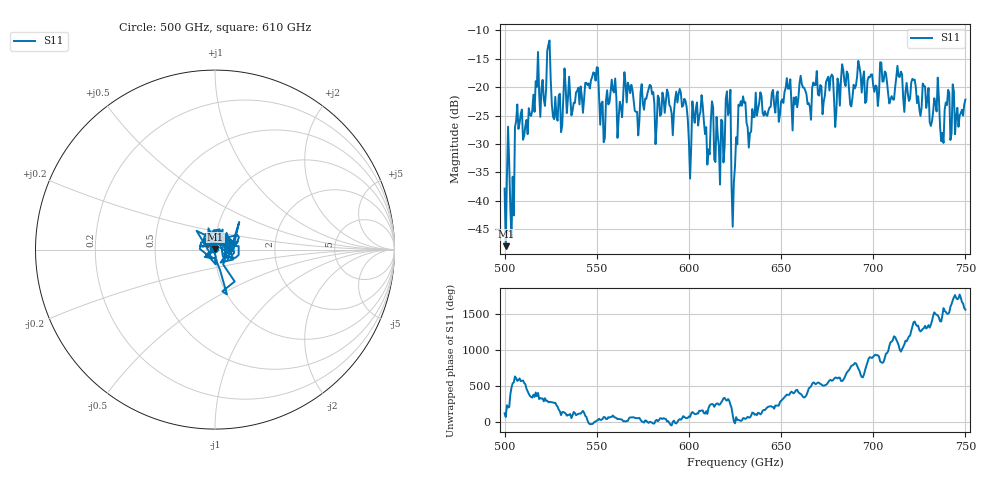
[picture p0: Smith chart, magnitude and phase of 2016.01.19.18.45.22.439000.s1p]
!Created with skrf (http://scikit-rf.org).
# GHz S RI R 50.0
!freq ReS11 ImS11
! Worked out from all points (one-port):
!   401 points, 500 GHz to 750 GHz, reference 50 ohm
!   lowest |S11| = -48.0 dB at 500.6 GHz (marker M1), VSWR 1.01, Z = 50.1 + j0.387 ohm
!   |S11| at or under -10 dB: start of sweep to end of sweep
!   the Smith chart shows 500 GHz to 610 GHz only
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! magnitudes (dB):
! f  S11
! 500 GHz  -37.9
! 500.6 GHz  -48.0
! 503.8 GHz  -46.5
! 506.9 GHz  -23.0
! 520.6 GHz  -18.7
! 523.8 GHz  -12.5
! 526.9 GHz  -25.6
! 531.2 GHz  -26.8
! 549.4 GHz  -18.8
! 553.1 GHz  -22.5
! 558.8 GHz  -20.5
! 562.5 GHz  -22.6
! 566.2 GHz  -22.7
! 571.9 GHz  -24.3
! 593.8 GHz  -22.7
! 600 GHz  -29.6
! 606.9 GHz  -21.4
! 615.6 GHz  -28.4
! 621.2 GHz  -24.9
! 625 GHz  -33.9
! 628.1 GHz  -22.5
! 632.5 GHz  -30.6
! 656.2 GHz  -27.6
! 687.5 GHz  -23.1
! 718.8 GHz  -21.1
! 734.4 GHz  -24.3
! 737.5 GHz  -28.0
! 750 GHz  -22.2
